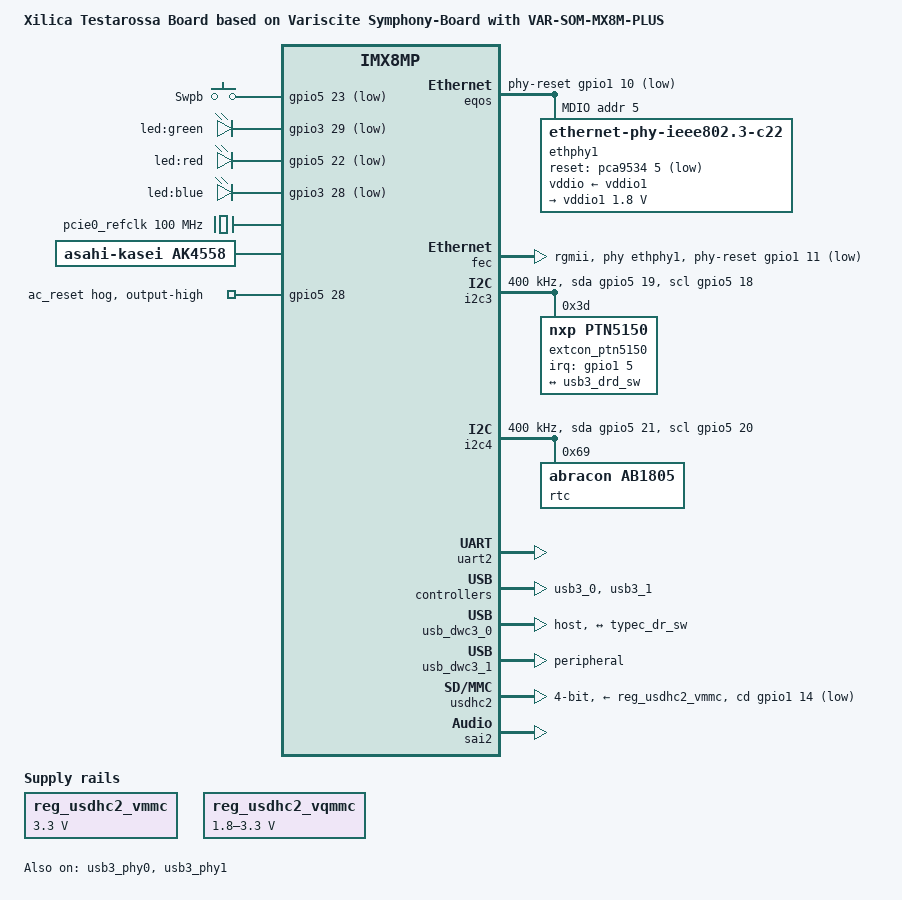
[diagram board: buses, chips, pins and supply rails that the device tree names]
// SPDX-License-Identifier: (GPL-2.0+ OR MIT)
/*
 * Copyright 2019 NXP
 * Copyright 2020-2024 Variscite Ltd.
 */

#include "imx8mp-var-som.dtsi"

/ {
	model = "Xilica Testarossa Board based on Variscite Symphony-Board with VAR-SOM-MX8M-PLUS";

	chosen {
		stdout-path = &uart2;
	};

	gpio-keys {
		compatible = "gpio-keys";
		pinctrl-0 = <&pinctrl_gpio_sw>;
		pinctrl-names = "default";
		status = "okay";

		Swpb {
			label = "Swpb";
			linux,code = <KEY_HOME>;
			gpios = <&gpio5 23 GPIO_ACTIVE_LOW>;
			wakeup-source;
		};
	};

	gpio-leds {
		compatible = "gpio-leds";
		pinctrl-0 = <&pinctrl_gpio_led>;
		pinctrl-names = "default";
		status = "okay";

		// pin 154, v1.1, GPIO3_IO29
		green {
			label = "led:green";
			gpios = <&gpio3 29 GPIO_ACTIVE_LOW>;
			default-state = "off";
		};
		// pin 175, v1.1, GPIO5_IO22
		red {
			label = "led:red";
			gpios = <&gpio5 22 GPIO_ACTIVE_LOW>;
			default-state = "off";
		};
		// pin 156, v1.1, GPIO3_IO28
		blue {
			label = "led:blue";
			gpios = <&gpio3 28 GPIO_ACTIVE_LOW>;
			default-state = "off";
		};
	};

	// This node does not appear anywhere in arthurs original kernel or patch
    pcie0_refclk: pcie0-refclk {
		compatible = "fixed-clock";
		#clock-cells = <0>;
		clock-frequency = <100000000>;
	};

	reg_usdhc2_vmmc: regulator-usdhc2-vmmc {
		compatible = "regulator-fixed";
		regulator-name = "VSD_3V3";
		regulator-min-microvolt = <3300000>;
		regulator-max-microvolt = <3300000>;
		// Remove GPIO, that should work for custom
		//gpio = <&gpio4 22 GPIO_ACTIVE_HIGH>;
		//enable-active-high;
		startup-delay-us = <100>;
		off-on-delay-us = <12000>;
	};

	reg_usdhc2_vqmmc: regulator-usdhc2-vqmmc {
		compatible = "regulator-gpio";
		regulator-name = "VSD_VSEL";
		regulator-min-microvolt = <1800000>;
		regulator-max-microvolt = <3300000>;
		gpio = <&gpio2 12 GPIO_ACTIVE_HIGH>;
		gpios-states = <1>;
		states = <3300000 0
			  1800000 1>;
	};

	sound_hdmi: sound_hdmi {
		compatible = "fsl,imx-audio-hdmi";
		model = "audio-hdmi";
		audio-cpu = <&aud2htx>;
		hdmi-out;
		constraint-rate = <44100>,
				<88200>,
				<176400>,
				<32000>,
				<48000>,
				<96000>,
				<192000>;
		status = "disabled";
	};

	ak4558: codec {
		#sound-dai-cells = <0>;
		compatible = "asahi-kasei,ak4558";
		//compatible = "linux,snd-soc-dummy";
		//clocks = <&audio_blk_ctrl IMX8MP_CLK_AUDIO_BLK_CTRL_SAI2_MCLK1>;
		//clock-names = "mclk";
		status = "okay";
	};

	sound-ak4558 {
		compatible = "simple-audio-card";

		simple-audio-card,bitclock-master = <&sai2_dai>;
		simple-audio-card,format = "i2s";
		simple-audio-card,frame-master = <&sai2_dai>;
		simple-audio-card,name = "ak4558-audio";
		simple-audio-card,routing =
			"Headphone Jack", "AOUTL",
			"Headphone Jack", "AOUTR",
			"AINL", "Line In Jack",
			"AINR", "Line In Jack";
		simple-audio-card,widgets =
			"Headphone", "Headphone Jack",
			"Microphone", "Line In Jack";
		simple-audio-card,mclk-fs = <512>;

		// This will make ALSA work with device
		dailink_ak_master: simple-audio-card,codec {
			sound-dai = <&ak4558>;
		};
		/* force SAI2 as master */
		sai2_dai: simple-audio-card,cpu {
			sound-dai = <&sai2>;
		};
	};
};

// Ethernet 1: eqosethernet@30bf0000
&eqos {
	phy-reset-gpios = <&gpio1 10 GPIO_ACTIVE_LOW>;
	mdio {
		ethphy1: ethernet-phy@5 {
			compatible = "ethernet-phy-ieee802.3-c22";
			reg = <5>;
			at803x,eee-disabled;

            // BEGIN: IN Arthur's original kernel
            at803x,vddio-1p8v;
			// END:   IN Arthur's original kernel

            eee-broken-1000t;

            // BEGIN: NOT-IN Arthurs original kernel
            reset-gpios = <&pca9534 5 GPIO_ACTIVE_LOW>;
			reset-assert-us = <10000>;
			reset-deassert-us = <20000>;
			vddio-supply = <&vddio1>;

			vddio1: vddio-regulator {
				regulator-min-microvolt = <1800000>;
				regulator-max-microvolt = <1800000>;
			};
			// END:   NOT-IN Arthurs original kernel

		};
	};
};

// Ethernet 0 : fec: ethernet@30be0000
&fec {
	pinctrl-names = "default";
	pinctrl-0 = <&pinctrl_fec>;
	phy-mode = "rgmii";
	phy-handle = <&ethphy1>;
	phy-reset-gpios = <&gpio1 11 GPIO_ACTIVE_LOW>;

    // BEGIN: IN Arthurs original kernel but not in 6.6/scarthgap
	phy-reset-duration = <10>;
	phy-reset-post-delay = <20>;
    // END:   IN Arthurs original kernel but not in 6.6/scarthgap

    status = "okay";
};

&flexspi {
	pinctrl-names = "default";
	pinctrl-0 = <&pinctrl_flexspi0>;
	status = "disabled";
};

&i2c3 {
	clock-frequency = <400000>;
	pinctrl-names = "default", "gpio";
	pinctrl-0 = <&pinctrl_i2c3>;
	pinctrl-1 = <&pinctrl_i2c3_gpio>;
	scl-gpios = <&gpio5 18 GPIO_ACTIVE_HIGH>;
	sda-gpios = <&gpio5 19 GPIO_ACTIVE_HIGH>;
	status = "okay";

	/* USB Type-C Controller */
	extcon_ptn5150: typec@3d {
		compatible = "nxp,ptn5150";
		pinctrl-names = "default";
		pinctrl-0 = <&pinctrl_extcon>;
		reg = <0x3d>;
		interrupt-parent = <&gpio1>;
		interrupts = <5 IRQ_TYPE_LEVEL_HIGH>;
		irq-is-id-quirk;
		status ="okay";

        // BEGIN: NOT-IN Arthurs original kernel
		port {
			typec_dr_sw: endpoint {
				remote-endpoint = <&usb3_drd_sw>;
			};
		};
        // END:   NOT-IN Arthurs original kernel
	};

};

&i2c4 {
	clock-frequency = <400000>;
	pinctrl-names = "default", "gpio";
	pinctrl-0 = <&pinctrl_i2c4>;
	pinctrl-1 = <&pinctrl_i2c4_gpio>;
	scl-gpios = <&gpio5 20 GPIO_ACTIVE_HIGH>;
	sda-gpios = <&gpio5 21 GPIO_ACTIVE_HIGH>;
	status = "okay";

	/* ABRACON AB1805 */
	/* DS1337 RTC module */
	rtc@69 {
		compatible = "abracon,ab1805";
		reg = <0x69>;
		status = "okay";
	};
};

/* Header */
&uart1 {
	pinctrl-names = "default";
	pinctrl-0 = <&pinctrl_uart1>;
	status = "disabled";
};

/* Console */
&uart2 {
	pinctrl-names = "default";
	pinctrl-0 = <&pinctrl_uart2>;
	status = "okay";
};

/* Header */
&uart4 {
	pinctrl-names = "default";
	pinctrl-0 = <&pinctrl_uart4>;
	status = "disabled";
};

&usb3_phy0 {
	fsl,phy-tx-vref-tune = <0xe>;
	fsl,phy-tx-preemp-amp-tune = <3>;
	fsl,phy-tx-vboost-level = <5>;
	fsl,phy-comp-dis-tune = <7>;
	fsl,pcs-tx-deemph-3p5db = <0x21>;
	fsl,phy-pcs-tx-swing-full = <0x7f>;
	status = "okay";
};

&usb3_0 {
	status = "okay";
};

&usb_dwc3_0 {
	//dr_mode = "otg";
	dr_mode = "host";
	hnp-disable;
	srp-disable;
	adp-disable;
	extcon = <&extcon_ptn5150>;
    status = "okay";

    // BEGIN: NOT-IN Arthurs original kernel
	usb-role-switch;
	role-switch-default-mode = "none";
	snps,dis-u1-entry-quirk;
	snps,dis-u2-entry-quirk;
	port {
		usb3_drd_sw: endpoint {
			remote-endpoint = <&typec_dr_sw>;
		};
	};
    // END:   NOT-IN Arthurs original kernel
};

&usb3_phy1 {
	fsl,phy-tx-preemp-amp-tune = <3>;
	fsl,phy-tx-vref-tune = <0xb>;
	status = "okay";
};

&usb3_1 {
	status = "okay";
};

&usb_dwc3_1 {
	dr_mode = "peripheral";
	status = "okay";
};

&usdhc2 {
	pinctrl-names = "default", "state_100mhz", "state_200mhz";
	pinctrl-0 = <&pinctrl_usdhc2>;
	pinctrl-1 = <&pinctrl_usdhc2_100mhz>;
	pinctrl-2 = <&pinctrl_usdhc2_200mhz>;
	cd-gpios = <&gpio1 14 GPIO_ACTIVE_LOW>;
	vmmc-supply = <&reg_usdhc2_vmmc>;
	vqmmc-supply = <&reg_usdhc2_vqmmc>;
	bus-width = <4>;
	status = "okay";
};

&sai3 {
	status = "disabled";
};

&sai2 {
	#sound-dai-cells = <0>;
	pinctrl-names = "default";
	pinctrl-0 = <&pinctrl_sai2>;
	assigned-clocks = <&clk IMX8MP_CLK_SAI2>;
	assigned-clock-parents = <&clk IMX8MP_AUDIO_PLL1_OUT>;
	assigned-clock-rates = <24576000>;
	clocks = <&audio_blk_ctrl IMX8MP_CLK_AUDIO_BLK_CTRL_SAI2_IPG>,
			<&clk IMX8MP_CLK_DUMMY>,
			<&audio_blk_ctrl IMX8MP_CLK_AUDIO_BLK_CTRL_SAI2_MCLK1>,
			<&clk IMX8MP_CLK_DUMMY>,
			<&clk IMX8MP_CLK_DUMMY>,
			<&clk IMX8MP_AUDIO_PLL1_OUT>,
			<&clk IMX8MP_AUDIO_PLL2_OUT>;

	clock-names = "bus", "mclk0", "mclk1", "mclk2", "mclk3", "pll8k", "pll11k";
	//fsl,sai-mclk-direction-output;
	fsl,sai-synchronous-rx;
	//fsl,sai-asynchronous;
	status = "okay";
};

&gpio5 {
	pinctrl-0 = <&pinctrl_gpio_ac>;
	acrst_gpio_hog {
		//gpio = <&gpio5 28 GPIO_ACTIVE_HIGH>;
		gpio-hog;
		gpios = <28 0>;
		output-high;
		line-name = "ac_reset";
	};

};

&iomuxc {
	pinctrl-names = "default";

	pinctrl_gpio_ac: acrst {
		fsl,pins = <
			MX8MP_IOMUXC_UART4_RXD__GPIO5_IO28				0x1c2
		>;
	};

	pinctrl_gpio_sw: swgrp {
		fsl,pins = <
			MX8MP_IOMUXC_UART1_TXD__GPIO5_IO23				0x1c4
		>;
	};

	pinctrl_gpio_led: ledgrp {
		fsl,pins = <
			MX8MP_IOMUXC_HDMI_CEC__GPIO3_IO28				0x1c2
			MX8MP_IOMUXC_HDMI_HPD__GPIO3_IO29				0x1c2
			MX8MP_IOMUXC_UART1_RXD__GPIO5_IO22				0x1c4
		>;
	};

	pinctrl_pwm1: pwm1grp {
		fsl,pins = <
			MX8MP_IOMUXC_SPDIF_EXT_CLK__PWM1_OUT				0x116
		>;
	};

	pinctrl_fec: fecgrp {
		fsl,pins = <
			MX8MP_IOMUXC_SAI1_RXD4__ENET1_RGMII_RD0				0x90
			MX8MP_IOMUXC_SAI1_RXD5__ENET1_RGMII_RD1				0x90
			MX8MP_IOMUXC_SAI1_RXD6__ENET1_RGMII_RD2				0x90
			MX8MP_IOMUXC_SAI1_RXD7__ENET1_RGMII_RD3				0x90
			MX8MP_IOMUXC_SAI1_TXC__ENET1_RGMII_RXC				0x90
			MX8MP_IOMUXC_SAI1_TXFS__ENET1_RGMII_RX_CTL			0x90
			MX8MP_IOMUXC_SAI1_TXD0__ENET1_RGMII_TD0				0x00
			MX8MP_IOMUXC_SAI1_TXD1__ENET1_RGMII_TD1				0x00
			MX8MP_IOMUXC_SAI1_TXD2__ENET1_RGMII_TD2				0x00
			MX8MP_IOMUXC_SAI1_TXD3__ENET1_RGMII_TD3				0x00
			MX8MP_IOMUXC_SAI1_TXD4__ENET1_RGMII_TX_CTL			0x00
			MX8MP_IOMUXC_SAI1_TXD5__ENET1_RGMII_TXC				0x00

			MX8MP_IOMUXC_GPIO1_IO11__GPIO1_IO11					0x10
		>;
	};

	pinctrl_flexspi0: flexspi0grp {
		fsl,pins = <
			MX8MP_IOMUXC_NAND_ALE__FLEXSPI_A_SCLK				0x1c2
			MX8MP_IOMUXC_NAND_CE0_B__FLEXSPI_A_SS0_B			0x82
			MX8MP_IOMUXC_NAND_DATA00__FLEXSPI_A_DATA00			0x82
			MX8MP_IOMUXC_NAND_DATA01__FLEXSPI_A_DATA01			0x82
			MX8MP_IOMUXC_NAND_DATA02__FLEXSPI_A_DATA02			0x82
			MX8MP_IOMUXC_NAND_DATA03__FLEXSPI_A_DATA03			0x82
		>;
	};

	pinctrl_i2c3: i2c3grp {
		fsl,pins = <
			MX8MP_IOMUXC_I2C3_SCL__I2C3_SCL					0x400001c2
			MX8MP_IOMUXC_I2C3_SDA__I2C3_SDA					0x400001c2
		>;
	};

	pinctrl_i2c4: i2c4grp {
		fsl,pins = <
			MX8MP_IOMUXC_I2C4_SCL__I2C4_SCL					0x400001c2
			MX8MP_IOMUXC_I2C4_SDA__I2C4_SDA					0x400001c2
		>;
	};

	pinctrl_i2c6: i2c6grp {
		fsl,pins = <
			MX8MP_IOMUXC_HDMI_CEC__I2C6_SCL					0x400001c2
			MX8MP_IOMUXC_HDMI_HPD__I2C6_SDA					0x400001c2
		>;
	};

	pinctrl_i2c3_gpio: i2c3gpiogrp {
		fsl,pins = <
			MX8MP_IOMUXC_I2C3_SCL__GPIO5_IO18				0x1c2
			MX8MP_IOMUXC_I2C3_SDA__GPIO5_IO19				0x1c2
		>;
	};

	pinctrl_i2c4_gpio: i2c4gpiogrp {
		fsl,pins = <
			MX8MP_IOMUXC_I2C4_SCL__GPIO5_IO20				0x1c2
			MX8MP_IOMUXC_I2C4_SDA__GPIO5_IO21				0x1c2
		>;
	};

	pinctrl_i2c6_gpio: i2c6gpiogrp {
		fsl,pins = <
			MX8MP_IOMUXC_HDMI_CEC__GPIO3_IO28				0x1c2
			MX8MP_IOMUXC_HDMI_HPD__GPIO3_IO29				0x1c2
		>;
	};

	pinctrl_sai2: sai2grp {
		fsl,pins = <
			// MX8MP_IOMUXC_SAI2_TXFS__AUDIOMIX_SAI2_TX_SYNC			0xd6
			// MX8MP_IOMUXC_SAI2_TXC__AUDIOMIX_SAI2_TX_BCLK			0xd6
			MX8MP_IOMUXC_SAI2_RXD0__AUDIOMIX_SAI2_RX_DATA00			0xd6
			MX8MP_IOMUXC_SAI2_TXD0__AUDIOMIX_SAI2_TX_DATA00			0xd6
			MX8MP_IOMUXC_SAI2_MCLK__AUDIOMIX_SAI2_MCLK				0xd6
			MX8MP_IOMUXC_SAI2_RXFS__AUDIOMIX_SAI2_RX_SYNC			0xd6
			MX8MP_IOMUXC_SAI2_RXC__AUDIOMIX_SAI2_RX_BCLK			0xd6
		>;
	};

	pinctrl_uart1: uart1grp {
		fsl,pins = <
			MX8MP_IOMUXC_UART1_RXD__UART1_DCE_RX				0x40
			MX8MP_IOMUXC_UART1_TXD__UART1_DCE_TX				0x40
		>;
	};

	pinctrl_uart2: uart2grp {
		fsl,pins = <
			MX8MP_IOMUXC_UART2_RXD__UART2_DCE_RX				0x40
			MX8MP_IOMUXC_UART2_TXD__UART2_DCE_TX				0x40
		>;
	};

    // BEGIN: IN Arthurs original kernel, NOT IN 6.6 / scarthgap
	pinctrl_uart3: uart3grp {
		fsl,pins = <
			MX8MP_IOMUXC_ECSPI1_SCLK__UART3_DCE_RX				0x140
			MX8MP_IOMUXC_ECSPI1_MOSI__UART3_DCE_TX				0x140
			MX8MP_IOMUXC_ECSPI1_MISO__UART3_DCE_CTS				0x140
			MX8MP_IOMUXC_ECSPI1_SS0__UART3_DCE_RTS				0x140
		>;
	};
    // END: IN Arthurs original kernel, NOT IN 6.6 / scarthgap

	pinctrl_uart4: uart4grp {
		fsl,pins = <
			MX8MP_IOMUXC_UART4_RXD__UART4_DCE_RX				0x40
			MX8MP_IOMUXC_UART4_TXD__UART4_DCE_TX				0x40
		>;
	};

	pinctrl_usdhc2_gpio: usdhc2grp-gpio {
		fsl,pins = <
			MX8MP_IOMUXC_GPIO1_IO14__GPIO1_IO14				0x1c4
			// MX8MP_IOMUXC_SAI2_RXC__GPIO4_IO22				0x10
			MX8MP_IOMUXC_SD2_CD_B__GPIO2_IO12				0xc0
		>;
	};

	pinctrl_usdhc2: usdhc2grp {
		fsl,pins = <
			MX8MP_IOMUXC_SD2_CLK__USDHC2_CLK				0x190
			MX8MP_IOMUXC_SD2_CMD__USDHC2_CMD				0x1d0
			MX8MP_IOMUXC_SD2_DATA0__USDHC2_DATA0				0x1d0
			MX8MP_IOMUXC_SD2_DATA1__USDHC2_DATA1				0x1d0
			MX8MP_IOMUXC_SD2_DATA2__USDHC2_DATA2				0x1d0
			MX8MP_IOMUXC_SD2_DATA3__USDHC2_DATA3				0x1d0
		>;
	};

	pinctrl_usdhc2_100mhz: usdhc2grp-100mhz {
		fsl,pins = <
			MX8MP_IOMUXC_SD2_CLK__USDHC2_CLK				0x194
			MX8MP_IOMUXC_SD2_CMD__USDHC2_CMD				0x1d4
			MX8MP_IOMUXC_SD2_DATA0__USDHC2_DATA0				0x1d4
			MX8MP_IOMUXC_SD2_DATA1__USDHC2_DATA1				0x1d4
			MX8MP_IOMUXC_SD2_DATA2__USDHC2_DATA2				0x1d4
			MX8MP_IOMUXC_SD2_DATA3__USDHC2_DATA3				0x1d4
		>;
	};

	pinctrl_usdhc2_200mhz: usdhc2grp-200mhz {
		fsl,pins = <
			MX8MP_IOMUXC_SD2_CLK__USDHC2_CLK				0x196
			MX8MP_IOMUXC_SD2_CMD__USDHC2_CMD				0x1d6
			MX8MP_IOMUXC_SD2_DATA0__USDHC2_DATA0				0x1d6
			MX8MP_IOMUXC_SD2_DATA1__USDHC2_DATA1				0x1d6
			MX8MP_IOMUXC_SD2_DATA2__USDHC2_DATA2				0x1d6
			MX8MP_IOMUXC_SD2_DATA3__USDHC2_DATA3				0x1d6
		>;
	};

	pinctrl_ecspi2: ecspi12grp {
		fsl,pins = <
			MX8MP_IOMUXC_ECSPI2_SCLK__ECSPI2_SCLK				0x12
			MX8MP_IOMUXC_ECSPI2_MOSI__ECSPI2_MOSI				0x12
			MX8MP_IOMUXC_ECSPI2_MISO__ECSPI2_MISO				0x12
			MX8MP_IOMUXC_ECSPI2_SS0__GPIO5_IO13				0x12
		>;
	};

	pinctrl_captouch: captouchgrp {
		fsl,pins = <
			MX8MP_IOMUXC_SPDIF_TX__GPIO5_IO03				0x16
		>;
	};

	pinctrl_extcon: extcongrp {
		fsl,pins = <
			MX8MP_IOMUXC_GPIO1_IO05__GPIO1_IO05				0x10
		>;
	};

	pinctrl_flexcan2: flexcan2grp {
		fsl,pins = <
			MX8MP_IOMUXC_UART3_RXD__CAN2_TX					0x154
			MX8MP_IOMUXC_UART3_TXD__CAN2_RX					0x154
		>;
	};

	pinctrl_csi0: csi0grp {
		fsl,pins = <
			MX8MP_IOMUXC_GPIO1_IO00__GPIO1_IO00				0x10
			MX8MP_IOMUXC_GPIO1_IO08__GPIO1_IO08				0x10
			>;
	};

	pinctrl_csi1: csi1grp {
		fsl,pins = <
			MX8MP_IOMUXC_SAI1_RXD7__GPIO4_IO09				0x10
			MX8MP_IOMUXC_SAI1_TXD0__GPIO4_IO12				0x10
			>;
	};
};
